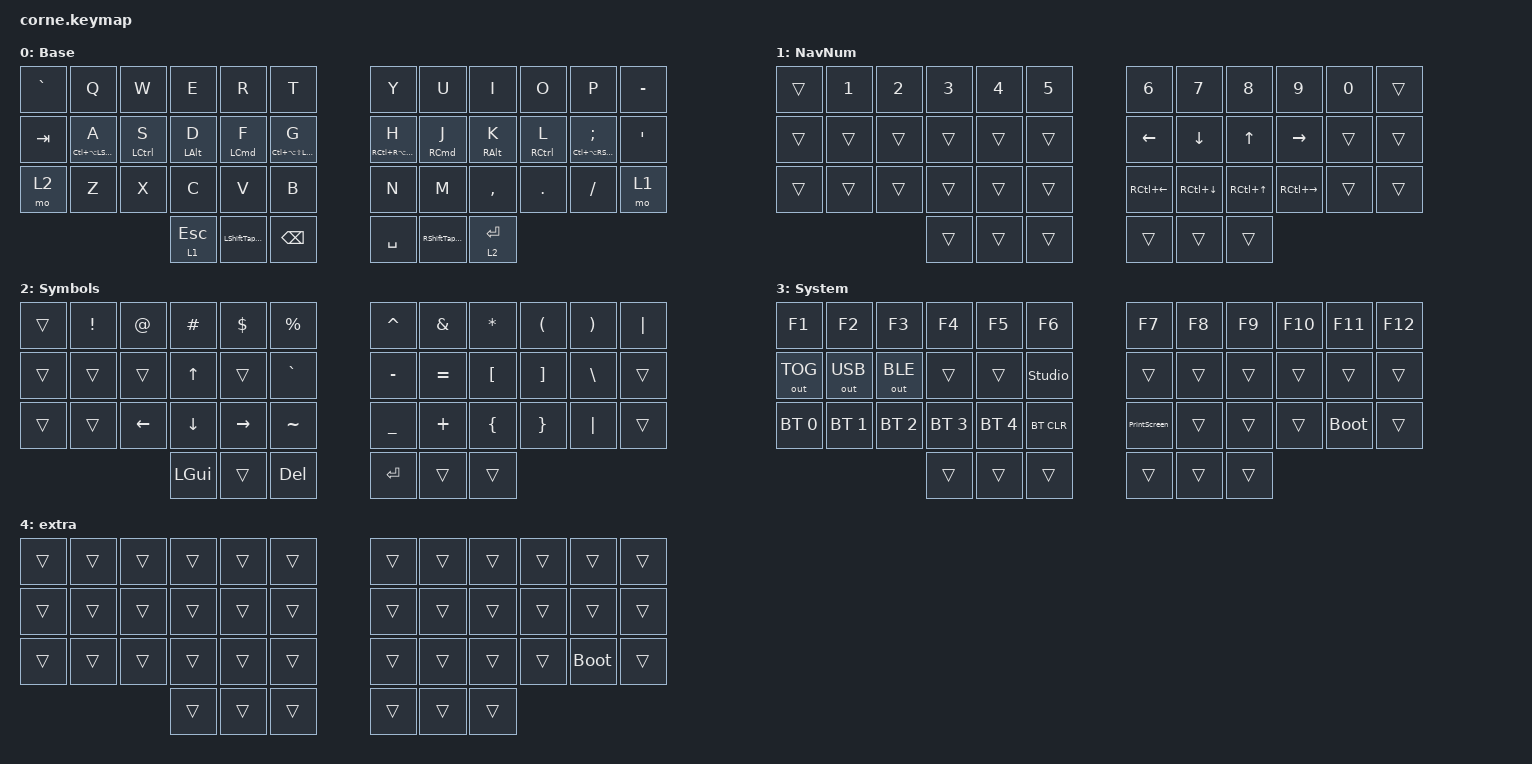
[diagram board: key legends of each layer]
#include <behaviors.dtsi>
#include <dt-bindings/zmk/bt.h>
#include <dt-bindings/zmk/keys.h>
#include <dt-bindings/zmk/outputs.h>

#define DEF 0
#define NAV 1
#define SYM 2
#define ADJ 3
#define EXTRA 4

/ {
    behaviors {
        hm: homerow_mods {
            compatible = "zmk,behavior-hold-tap";
            label = "HOMEROW_MODS";
            #binding-cells = <2>;
            tapping-term-ms = <280>;
            quick_tap_ms = <0>;
            flavor = "balanced";
            bindings = <&kp>, <&kp>;

            quick-tap-ms = <175>;
            require-prior-idle-ms = <150>;
            hold-trigger-on-release;
        };

        LShiftTapDance: LShiftTapDance {
            compatible = "zmk,behavior-tap-dance";
            label = "LSHIFTTAPDANCE";
            #binding-cells = <0>;
            bindings = <&kp LEFT_SHIFT>, <&caps_word>, <&kp CAPSLOCK>;
        };

        RShiftTapDance: RShiftTapDance {
            compatible = "zmk,behavior-tap-dance";
            label = "RSHIFTTAPDANCE";
            #binding-cells = <0>;
            bindings = <&kp RIGHT_SHIFT>, <&caps_word>, <&kp CAPSLOCK>;
        };
    };

    macros {
        Lmeh: meh {
            compatible = "zmk,behavior-macro";
            #binding-cells = <0>;
            bindings = <&kp LEFT_CONTROL &kp LEFT_ALT &kp LEFT_SHIFT>;
            label = "MEH";
        };

        Rmeh: Rmeh {
            compatible = "zmk,behavior-macro";
            #binding-cells = <0>;
            bindings = <&kp RIGHT_CONTROL &kp RIGHT_ALT &kp RIGHT_SHIFT>;
            label = "RMEH";
        };

        Lhyper: Lhyper {
            compatible = "zmk,behavior-macro";
            #binding-cells = <0>;
            bindings = <&kp LEFT_CONTROL &kp LEFT_ALT &kp LEFT_SHIFT &kp LCMD>;
            label = "LHYPER";
        };

        Rhyper: Rhyper {
            compatible = "zmk,behavior-macro";
            #binding-cells = <0>;
            bindings = <&kp RIGHT_CONTROL &kp RIGHT_ALT &kp RIGHT_SHIFT &kp RIGHT_COMMAND>;
            label = "RHYPER";
        };

        QuickNote: new_macro {
            compatible = "zmk,behavior-macro";
            #binding-cells = <0>;
            bindings = <&Lhyper &kp Q>;
            label = "NEW_MACRO";
        };

        PrintScreen: PrintScreen {
            compatible = "zmk,behavior-macro";
            #binding-cells = <0>;
            bindings = <&kp LS(LG(NUMBER_4))>;
            label = "PRINTSCREEN";
        };
    };

    combos {
        compatible = "zmk,combos";

        One {
            bindings = <&kp NUMBER_1>;
            key-positions = <1 13>;
        };

        Two {
            bindings = <&kp NUMBER_2>;
            key-positions = <2 14>;
        };

        Three {
            bindings = <&kp NUMBER_3>;
            key-positions = <3 15>;
        };

        Four {
            bindings = <&kp NUMBER_4>;
            key-positions = <4 16>;
        };

        Five {
            bindings = <&kp NUMBER_5>;
            key-positions = <5 17>;
        };

        Six {
            bindings = <&kp NUMBER_6>;
            key-positions = <6 18>;
        };

        Seven {
            bindings = <&kp NUMBER_7>;
            key-positions = <7 19>;
        };

        Eight {
            bindings = <&kp NUMBER_8>;
            key-positions = <8 20>;
        };

        Nine {
            bindings = <&kp NUMBER_9>;
            key-positions = <9 21>;
        };

        Zero {
            bindings = <&kp NUMBER_0>;
            key-positions = <10 22>;
        };
    };

    //

    keymap {
        compatible = "zmk,keymap";

        DEF {
            display-name = "Base";

            // -----------------------------------------------------------------------------------------
            // |  Q  |  W  |  E  |  R  |  T  |   |  Y  |  U   |  I  |  O  |  P  |
            // |  A  |  S  |  D  |  F  |  G  |   |  H  |  J   |  K  |  L  |  ;  |
            // |  Z  |  X  |  C  |  V  |  B  |   |  N  |  M   |  ,  |  .  |  /  |
            // | GUI | CTRL | SHFT | LWR | SPC |   | ENT | RSE  | BKSP | ALT | ESC |

            bindings = <
&kp GRAVE  &kp Q                     &kp W               &kp E           &kp R            &kp T                     &kp Y                   &kp U            &kp I            &kp O                &kp P                         &kp MINUS
&kp TAB    &hm LC(LA(LEFT_SHIFT)) A  &hm LEFT_CONTROL S  &hm LEFT_ALT D  &hm LCMD F       &hm LC(LA(LS(LCMD))) G    &hm RC(RA(RS(RCMD))) H  &hm RCMD J       &hm RIGHT_ALT K  &hm RIGHT_CONTROL L  &hm LC(LA(RIGHT_SHIFT)) SEMI  &kp SQT
&mo 2      &kp Z                     &kp X               &kp C           &kp V            &kp B                     &kp N                   &kp M            &kp COMMA        &kp DOT              &kp FSLH                      &mo 1
                                                         &lt 1 ESC       &LShiftTapDance  &kp BACKSPACE             &kp SPACE               &RShiftTapDance  &lt 2 ENTER
            >;
        };

        NAV {
            display-name = "NavNum";

            // -----------------------------------------------------------------------------------------
            // |  TAB |  1  |  2  |  3  |  4  |  5  |   |  6  |  7  |  8  |  9  |  0  | BKSP |
            // | BTCLR| BT1 | BT2 | BT3 | BT4 | BT5 |   | LFT | DWN |  UP | RGT |     |      |
            // | SHFT |     |     |     |     |     |   |     |     |     |     |     |      |
            // | GUI | CTRL | SHFT | LWR | SPC |   | ENT | RSE  | BKSP | ALT | ESC |

            bindings = <
&trans  &kp N1  &kp N2  &kp N3  &kp N4  &kp N5    &kp N6              &kp N7              &kp N8            &kp N9               &kp N0  &trans
&trans  &trans  &trans  &trans  &trans  &trans    &kp LEFT_ARROW      &kp DOWN_ARROW      &kp UP_ARROW      &kp RIGHT_ARROW      &trans  &trans
&trans  &trans  &trans  &trans  &trans  &trans    &kp RC(LEFT_ARROW)  &kp RC(DOWN_ARROW)  &kp RC(UP_ARROW)  &kp RC(RIGHT_ARROW)  &trans  &trans
                        &trans  &trans  &trans    &trans              &trans              &trans
            >;
        };

        SYM {
            display-name = "Symbols";

            // -----------------------------------------------------------------------------------------
            // |  TAB |  !  |  @  |  #  |  $  |  %  |   |  ^  |  &  |  *  |  (  |  )  | BKSP |
            // | CTRL |     |     |     |     |     |   |  -  |  =  |  [  |  ]  |  \  |  `   |
            // | SHFT |     |     |     |     |     |   |  _  |  +  |  {  |  }  | "|" |  ~   |
            //                    | GUI |     | SPC |   | ENT |     | ALT |

            bindings = <
&trans  &kp EXCL  &kp AT          &kp HASH        &kp DLLR         &kp PRCNT     &kp CARET  &kp AMPS   &kp ASTRK  &kp LEFT_PARENTHESIS  &kp RPAR  &kp PIPE
&trans  &trans    &trans          &kp UP_ARROW    &trans           &kp GRAVE     &kp MINUS  &kp EQUAL  &kp LBKT   &kp RBKT              &kp BSLH  &trans
&trans  &trans    &kp LEFT_ARROW  &kp DOWN_ARROW  &kp RIGHT_ARROW  &kp TILDE     &kp UNDER  &kp PLUS   &kp LBRC   &kp RBRC              &kp PIPE  &trans
                                  &kp LGUI        &trans           &kp DELETE    &kp RET    &trans     &trans
            >;
        };

        SYS {
            display-name = "System";
            bindings = <
&kp F1        &kp F2        &kp F3        &kp F4        &kp F5        &kp F6            &kp F7        &kp F8  &kp F9  &kp F10  &kp F11      &kp F12
&out OUT_TOG  &out OUT_USB  &out OUT_BLE  &trans        &trans        &studio_unlock    &trans        &trans  &trans  &trans   &trans       &trans
&bt BT_SEL 0  &bt BT_SEL 1  &bt BT_SEL 2  &bt BT_SEL 3  &bt BT_SEL 4  &bt BT_CLR        &PrintScreen  &trans  &trans  &trans   &bootloader  &trans
                                          &trans        &trans        &trans            &trans        &trans  &trans
            >;
        };

        EXTRA {
            display-name = "extra";
            bindings = <
&trans  &trans  &trans  &trans  &trans  &trans    &trans  &trans  &trans  &trans  &trans       &trans
&trans  &trans  &trans  &trans  &trans  &trans    &trans  &trans  &trans  &trans  &trans       &trans
&trans  &trans  &trans  &trans  &trans  &trans    &trans  &trans  &trans  &trans  &bootloader  &trans
                        &trans  &trans  &trans    &trans  &trans  &trans
            >;
        };
    };

    conditional_layers {
        compatible = "zmk,conditional-layers";

        l3 {
            if-layers = <1 2>;
            then-layer = <3>;
        };
    };
};
